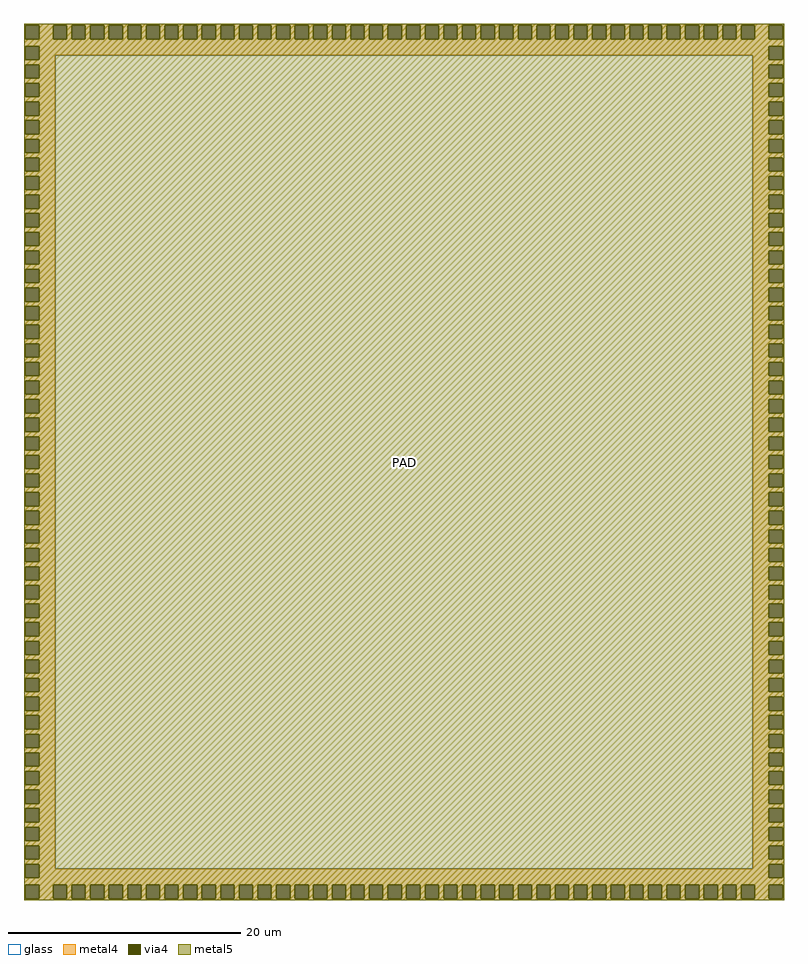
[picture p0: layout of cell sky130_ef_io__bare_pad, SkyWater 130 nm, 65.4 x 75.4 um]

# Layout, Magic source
magic
tech sky130A
<< metal4 >>
rect -270 7258 6270 7270
rect -270 7140 -258 7258
rect -140 7140 -19 7258
rect 99 7140 141 7258
rect 259 7140 301 7258
rect 419 7140 461 7258
rect 579 7140 621 7258
rect 739 7140 781 7258
rect 899 7140 941 7258
rect 1059 7140 1101 7258
rect 1219 7140 1261 7258
rect 1379 7140 1421 7258
rect 1539 7140 1581 7258
rect 1699 7140 1741 7258
rect 1859 7140 1901 7258
rect 2019 7140 2061 7258
rect 2179 7140 2221 7258
rect 2339 7140 2381 7258
rect 2499 7140 2541 7258
rect 2659 7140 2701 7258
rect 2819 7140 2861 7258
rect 2979 7140 3021 7258
rect 3139 7140 3181 7258
rect 3299 7140 3341 7258
rect 3459 7140 3501 7258
rect 3619 7140 3661 7258
rect 3779 7140 3821 7258
rect 3939 7140 3981 7258
rect 4099 7140 4141 7258
rect 4259 7140 4301 7258
rect 4419 7140 4461 7258
rect 4579 7140 4621 7258
rect 4739 7140 4781 7258
rect 4899 7140 4941 7258
rect 5059 7140 5101 7258
rect 5219 7140 5261 7258
rect 5379 7140 5421 7258
rect 5539 7140 5581 7258
rect 5699 7140 5741 7258
rect 5859 7140 5901 7258
rect 6019 7140 6140 7258
rect 6258 7140 6270 7258
rect -270 7079 6270 7140
rect -270 6961 -258 7079
rect -140 7000 6140 7079
rect -140 6961 0 7000
rect -270 6919 0 6961
rect -270 6801 -258 6919
rect -140 6801 0 6919
rect -270 6759 0 6801
rect -270 6641 -258 6759
rect -140 6641 0 6759
rect -270 6599 0 6641
rect -270 6481 -258 6599
rect -140 6481 0 6599
rect -270 6439 0 6481
rect -270 6321 -258 6439
rect -140 6321 0 6439
rect -270 6279 0 6321
rect -270 6161 -258 6279
rect -140 6161 0 6279
rect -270 6119 0 6161
rect -270 6001 -258 6119
rect -140 6001 0 6119
rect -270 5959 0 6001
rect -270 5841 -258 5959
rect -140 5841 0 5959
rect -270 5799 0 5841
rect -270 5681 -258 5799
rect -140 5681 0 5799
rect -270 5639 0 5681
rect -270 5521 -258 5639
rect -140 5521 0 5639
rect -270 5479 0 5521
rect -270 5361 -258 5479
rect -140 5361 0 5479
rect -270 5319 0 5361
rect -270 5201 -258 5319
rect -140 5201 0 5319
rect -270 5159 0 5201
rect -270 5041 -258 5159
rect -140 5041 0 5159
rect -270 4999 0 5041
rect -270 4881 -258 4999
rect -140 4881 0 4999
rect -270 4839 0 4881
rect -270 4721 -258 4839
rect -140 4721 0 4839
rect -270 4679 0 4721
rect -270 4561 -258 4679
rect -140 4561 0 4679
rect -270 4519 0 4561
rect -270 4401 -258 4519
rect -140 4401 0 4519
rect -270 4359 0 4401
rect -270 4241 -258 4359
rect -140 4241 0 4359
rect -270 4199 0 4241
rect -270 4081 -258 4199
rect -140 4081 0 4199
rect -270 4039 0 4081
rect -270 3921 -258 4039
rect -140 3921 0 4039
rect -270 3879 0 3921
rect -270 3761 -258 3879
rect -140 3761 0 3879
rect -270 3719 0 3761
rect -270 3601 -258 3719
rect -140 3601 0 3719
rect -270 3559 0 3601
rect -270 3441 -258 3559
rect -140 3441 0 3559
rect -270 3399 0 3441
rect -270 3281 -258 3399
rect -140 3281 0 3399
rect -270 3239 0 3281
rect -270 3121 -258 3239
rect -140 3121 0 3239
rect -270 3079 0 3121
rect -270 2961 -258 3079
rect -140 2961 0 3079
rect -270 2919 0 2961
rect -270 2801 -258 2919
rect -140 2801 0 2919
rect -270 2759 0 2801
rect -270 2641 -258 2759
rect -140 2641 0 2759
rect -270 2599 0 2641
rect -270 2481 -258 2599
rect -140 2481 0 2599
rect -270 2439 0 2481
rect -270 2321 -258 2439
rect -140 2321 0 2439
rect -270 2279 0 2321
rect -270 2161 -258 2279
rect -140 2161 0 2279
rect -270 2119 0 2161
rect -270 2001 -258 2119
rect -140 2001 0 2119
rect -270 1959 0 2001
rect -270 1841 -258 1959
rect -140 1841 0 1959
rect -270 1799 0 1841
rect -270 1681 -258 1799
rect -140 1681 0 1799
rect -270 1639 0 1681
rect -270 1521 -258 1639
rect -140 1521 0 1639
rect -270 1479 0 1521
rect -270 1361 -258 1479
rect -140 1361 0 1479
rect -270 1319 0 1361
rect -270 1201 -258 1319
rect -140 1201 0 1319
rect -270 1159 0 1201
rect -270 1041 -258 1159
rect -140 1041 0 1159
rect -270 999 0 1041
rect -270 881 -258 999
rect -140 881 0 999
rect -270 839 0 881
rect -270 721 -258 839
rect -140 721 0 839
rect -270 679 0 721
rect -270 561 -258 679
rect -140 561 0 679
rect -270 519 0 561
rect -270 401 -258 519
rect -140 401 0 519
rect -270 359 0 401
rect -270 241 -258 359
rect -140 241 0 359
rect -270 199 0 241
rect -270 81 -258 199
rect -140 81 0 199
rect -270 39 0 81
rect -270 -79 -258 39
rect -140 0 0 39
rect 6000 6961 6140 7000
rect 6258 6961 6270 7079
rect 6000 6919 6270 6961
rect 6000 6801 6140 6919
rect 6258 6801 6270 6919
rect 6000 6759 6270 6801
rect 6000 6641 6140 6759
rect 6258 6641 6270 6759
rect 6000 6599 6270 6641
rect 6000 6481 6140 6599
rect 6258 6481 6270 6599
rect 6000 6439 6270 6481
rect 6000 6321 6140 6439
rect 6258 6321 6270 6439
rect 6000 6279 6270 6321
rect 6000 6161 6140 6279
rect 6258 6161 6270 6279
rect 6000 6119 6270 6161
rect 6000 6001 6140 6119
rect 6258 6001 6270 6119
rect 6000 5959 6270 6001
rect 6000 5841 6140 5959
rect 6258 5841 6270 5959
rect 6000 5799 6270 5841
rect 6000 5681 6140 5799
rect 6258 5681 6270 5799
rect 6000 5639 6270 5681
rect 6000 5521 6140 5639
rect 6258 5521 6270 5639
rect 6000 5479 6270 5521
rect 6000 5361 6140 5479
rect 6258 5361 6270 5479
rect 6000 5319 6270 5361
rect 6000 5201 6140 5319
rect 6258 5201 6270 5319
rect 6000 5159 6270 5201
rect 6000 5041 6140 5159
rect 6258 5041 6270 5159
rect 6000 4999 6270 5041
rect 6000 4881 6140 4999
rect 6258 4881 6270 4999
rect 6000 4839 6270 4881
rect 6000 4721 6140 4839
rect 6258 4721 6270 4839
rect 6000 4679 6270 4721
rect 6000 4561 6140 4679
rect 6258 4561 6270 4679
rect 6000 4519 6270 4561
rect 6000 4401 6140 4519
rect 6258 4401 6270 4519
rect 6000 4359 6270 4401
rect 6000 4241 6140 4359
rect 6258 4241 6270 4359
rect 6000 4199 6270 4241
rect 6000 4081 6140 4199
rect 6258 4081 6270 4199
rect 6000 4039 6270 4081
rect 6000 3921 6140 4039
rect 6258 3921 6270 4039
rect 6000 3879 6270 3921
rect 6000 3761 6140 3879
rect 6258 3761 6270 3879
rect 6000 3719 6270 3761
rect 6000 3601 6140 3719
rect 6258 3601 6270 3719
rect 6000 3559 6270 3601
rect 6000 3441 6140 3559
rect 6258 3441 6270 3559
rect 6000 3399 6270 3441
rect 6000 3281 6140 3399
rect 6258 3281 6270 3399
rect 6000 3239 6270 3281
rect 6000 3121 6140 3239
rect 6258 3121 6270 3239
rect 6000 3079 6270 3121
rect 6000 2961 6140 3079
rect 6258 2961 6270 3079
rect 6000 2919 6270 2961
rect 6000 2801 6140 2919
rect 6258 2801 6270 2919
rect 6000 2759 6270 2801
rect 6000 2641 6140 2759
rect 6258 2641 6270 2759
rect 6000 2599 6270 2641
rect 6000 2481 6140 2599
rect 6258 2481 6270 2599
rect 6000 2439 6270 2481
rect 6000 2321 6140 2439
rect 6258 2321 6270 2439
rect 6000 2279 6270 2321
rect 6000 2161 6140 2279
rect 6258 2161 6270 2279
rect 6000 2119 6270 2161
rect 6000 2001 6140 2119
rect 6258 2001 6270 2119
rect 6000 1959 6270 2001
rect 6000 1841 6140 1959
rect 6258 1841 6270 1959
rect 6000 1799 6270 1841
rect 6000 1681 6140 1799
rect 6258 1681 6270 1799
rect 6000 1639 6270 1681
rect 6000 1521 6140 1639
rect 6258 1521 6270 1639
rect 6000 1479 6270 1521
rect 6000 1361 6140 1479
rect 6258 1361 6270 1479
rect 6000 1319 6270 1361
rect 6000 1201 6140 1319
rect 6258 1201 6270 1319
rect 6000 1159 6270 1201
rect 6000 1041 6140 1159
rect 6258 1041 6270 1159
rect 6000 999 6270 1041
rect 6000 881 6140 999
rect 6258 881 6270 999
rect 6000 839 6270 881
rect 6000 721 6140 839
rect 6258 721 6270 839
rect 6000 679 6270 721
rect 6000 561 6140 679
rect 6258 561 6270 679
rect 6000 519 6270 561
rect 6000 401 6140 519
rect 6258 401 6270 519
rect 6000 359 6270 401
rect 6000 241 6140 359
rect 6258 241 6270 359
rect 6000 199 6270 241
rect 6000 81 6140 199
rect 6258 81 6270 199
rect 6000 39 6270 81
rect 6000 0 6140 39
rect -140 -79 6140 0
rect 6258 -79 6270 39
rect -270 -140 6270 -79
rect -270 -258 -258 -140
rect -140 -258 -19 -140
rect 99 -258 141 -140
rect 259 -258 301 -140
rect 419 -258 461 -140
rect 579 -258 621 -140
rect 739 -258 781 -140
rect 899 -258 941 -140
rect 1059 -258 1101 -140
rect 1219 -258 1261 -140
rect 1379 -258 1421 -140
rect 1539 -258 1581 -140
rect 1699 -258 1741 -140
rect 1859 -258 1901 -140
rect 2019 -258 2061 -140
rect 2179 -258 2221 -140
rect 2339 -258 2381 -140
rect 2499 -258 2541 -140
rect 2659 -258 2701 -140
rect 2819 -258 2861 -140
rect 2979 -258 3021 -140
rect 3139 -258 3181 -140
rect 3299 -258 3341 -140
rect 3459 -258 3501 -140
rect 3619 -258 3661 -140
rect 3779 -258 3821 -140
rect 3939 -258 3981 -140
rect 4099 -258 4141 -140
rect 4259 -258 4301 -140
rect 4419 -258 4461 -140
rect 4579 -258 4621 -140
rect 4739 -258 4781 -140
rect 4899 -258 4941 -140
rect 5059 -258 5101 -140
rect 5219 -258 5261 -140
rect 5379 -258 5421 -140
rect 5539 -258 5581 -140
rect 5699 -258 5741 -140
rect 5859 -258 5901 -140
rect 6019 -258 6140 -140
rect 6258 -258 6270 -140
rect -270 -270 6270 -258
<< via4 >>
rect -258 7140 -140 7258
rect -19 7140 99 7258
rect 141 7140 259 7258
rect 301 7140 419 7258
rect 461 7140 579 7258
rect 621 7140 739 7258
rect 781 7140 899 7258
rect 941 7140 1059 7258
rect 1101 7140 1219 7258
rect 1261 7140 1379 7258
rect 1421 7140 1539 7258
rect 1581 7140 1699 7258
rect 1741 7140 1859 7258
rect 1901 7140 2019 7258
rect 2061 7140 2179 7258
rect 2221 7140 2339 7258
rect 2381 7140 2499 7258
rect 2541 7140 2659 7258
rect 2701 7140 2819 7258
rect 2861 7140 2979 7258
rect 3021 7140 3139 7258
rect 3181 7140 3299 7258
rect 3341 7140 3459 7258
rect 3501 7140 3619 7258
rect 3661 7140 3779 7258
rect 3821 7140 3939 7258
rect 3981 7140 4099 7258
rect 4141 7140 4259 7258
rect 4301 7140 4419 7258
rect 4461 7140 4579 7258
rect 4621 7140 4739 7258
rect 4781 7140 4899 7258
rect 4941 7140 5059 7258
rect 5101 7140 5219 7258
rect 5261 7140 5379 7258
rect 5421 7140 5539 7258
rect 5581 7140 5699 7258
rect 5741 7140 5859 7258
rect 5901 7140 6019 7258
rect 6140 7140 6258 7258
rect -258 6961 -140 7079
rect -258 6801 -140 6919
rect -258 6641 -140 6759
rect -258 6481 -140 6599
rect -258 6321 -140 6439
rect -258 6161 -140 6279
rect -258 6001 -140 6119
rect -258 5841 -140 5959
rect -258 5681 -140 5799
rect -258 5521 -140 5639
rect -258 5361 -140 5479
rect -258 5201 -140 5319
rect -258 5041 -140 5159
rect -258 4881 -140 4999
rect -258 4721 -140 4839
rect -258 4561 -140 4679
rect -258 4401 -140 4519
rect -258 4241 -140 4359
rect -258 4081 -140 4199
rect -258 3921 -140 4039
rect -258 3761 -140 3879
rect -258 3601 -140 3719
rect -258 3441 -140 3559
rect -258 3281 -140 3399
rect -258 3121 -140 3239
rect -258 2961 -140 3079
rect -258 2801 -140 2919
rect -258 2641 -140 2759
rect -258 2481 -140 2599
rect -258 2321 -140 2439
rect -258 2161 -140 2279
rect -258 2001 -140 2119
rect -258 1841 -140 1959
rect -258 1681 -140 1799
rect -258 1521 -140 1639
rect -258 1361 -140 1479
rect -258 1201 -140 1319
rect -258 1041 -140 1159
rect -258 881 -140 999
rect -258 721 -140 839
rect -258 561 -140 679
rect -258 401 -140 519
rect -258 241 -140 359
rect -258 81 -140 199
rect -258 -79 -140 39
rect 6140 6961 6258 7079
rect 6140 6801 6258 6919
rect 6140 6641 6258 6759
rect 6140 6481 6258 6599
rect 6140 6321 6258 6439
rect 6140 6161 6258 6279
rect 6140 6001 6258 6119
rect 6140 5841 6258 5959
rect 6140 5681 6258 5799
rect 6140 5521 6258 5639
rect 6140 5361 6258 5479
rect 6140 5201 6258 5319
rect 6140 5041 6258 5159
rect 6140 4881 6258 4999
rect 6140 4721 6258 4839
rect 6140 4561 6258 4679
rect 6140 4401 6258 4519
rect 6140 4241 6258 4359
rect 6140 4081 6258 4199
rect 6140 3921 6258 4039
rect 6140 3761 6258 3879
rect 6140 3601 6258 3719
rect 6140 3441 6258 3559
rect 6140 3281 6258 3399
rect 6140 3121 6258 3239
rect 6140 2961 6258 3079
rect 6140 2801 6258 2919
rect 6140 2641 6258 2759
rect 6140 2481 6258 2599
rect 6140 2321 6258 2439
rect 6140 2161 6258 2279
rect 6140 2001 6258 2119
rect 6140 1841 6258 1959
rect 6140 1681 6258 1799
rect 6140 1521 6258 1639
rect 6140 1361 6258 1479
rect 6140 1201 6258 1319
rect 6140 1041 6258 1159
rect 6140 881 6258 999
rect 6140 721 6258 839
rect 6140 561 6258 679
rect 6140 401 6258 519
rect 6140 241 6258 359
rect 6140 81 6258 199
rect 6140 -79 6258 39
rect -258 -258 -140 -140
rect -19 -258 99 -140
rect 141 -258 259 -140
rect 301 -258 419 -140
rect 461 -258 579 -140
rect 621 -258 739 -140
rect 781 -258 899 -140
rect 941 -258 1059 -140
rect 1101 -258 1219 -140
rect 1261 -258 1379 -140
rect 1421 -258 1539 -140
rect 1581 -258 1699 -140
rect 1741 -258 1859 -140
rect 1901 -258 2019 -140
rect 2061 -258 2179 -140
rect 2221 -258 2339 -140
rect 2381 -258 2499 -140
rect 2541 -258 2659 -140
rect 2701 -258 2819 -140
rect 2861 -258 2979 -140
rect 3021 -258 3139 -140
rect 3181 -258 3299 -140
rect 3341 -258 3459 -140
rect 3501 -258 3619 -140
rect 3661 -258 3779 -140
rect 3821 -258 3939 -140
rect 3981 -258 4099 -140
rect 4141 -258 4259 -140
rect 4301 -258 4419 -140
rect 4461 -258 4579 -140
rect 4621 -258 4739 -140
rect 4781 -258 4899 -140
rect 4941 -258 5059 -140
rect 5101 -258 5219 -140
rect 5261 -258 5379 -140
rect 5421 -258 5539 -140
rect 5581 -258 5699 -140
rect 5741 -258 5859 -140
rect 5901 -258 6019 -140
rect 6140 -258 6258 -140
<< metal5 >>
rect -270 7258 6270 7270
rect -270 7140 -258 7258
rect -140 7140 -19 7258
rect 99 7140 141 7258
rect 259 7140 301 7258
rect 419 7140 461 7258
rect 579 7140 621 7258
rect 739 7140 781 7258
rect 899 7140 941 7258
rect 1059 7140 1101 7258
rect 1219 7140 1261 7258
rect 1379 7140 1421 7258
rect 1539 7140 1581 7258
rect 1699 7140 1741 7258
rect 1859 7140 1901 7258
rect 2019 7140 2061 7258
rect 2179 7140 2221 7258
rect 2339 7140 2381 7258
rect 2499 7140 2541 7258
rect 2659 7140 2701 7258
rect 2819 7140 2861 7258
rect 2979 7140 3021 7258
rect 3139 7140 3181 7258
rect 3299 7140 3341 7258
rect 3459 7140 3501 7258
rect 3619 7140 3661 7258
rect 3779 7140 3821 7258
rect 3939 7140 3981 7258
rect 4099 7140 4141 7258
rect 4259 7140 4301 7258
rect 4419 7140 4461 7258
rect 4579 7140 4621 7258
rect 4739 7140 4781 7258
rect 4899 7140 4941 7258
rect 5059 7140 5101 7258
rect 5219 7140 5261 7258
rect 5379 7140 5421 7258
rect 5539 7140 5581 7258
rect 5699 7140 5741 7258
rect 5859 7140 5901 7258
rect 6019 7140 6140 7258
rect 6258 7140 6270 7258
rect -270 7079 6270 7140
rect -270 6961 -258 7079
rect -140 6961 6140 7079
rect 6258 6961 6270 7079
rect -270 6919 6270 6961
rect -270 6801 -258 6919
rect -140 6801 6140 6919
rect 6258 6801 6270 6919
rect -270 6759 6270 6801
rect -270 6641 -258 6759
rect -140 6641 6140 6759
rect 6258 6641 6270 6759
rect -270 6599 6270 6641
rect -270 6481 -258 6599
rect -140 6481 6140 6599
rect 6258 6481 6270 6599
rect -270 6439 6270 6481
rect -270 6321 -258 6439
rect -140 6321 6140 6439
rect 6258 6321 6270 6439
rect -270 6279 6270 6321
rect -270 6161 -258 6279
rect -140 6161 6140 6279
rect 6258 6161 6270 6279
rect -270 6119 6270 6161
rect -270 6001 -258 6119
rect -140 6001 6140 6119
rect 6258 6001 6270 6119
rect -270 5959 6270 6001
rect -270 5841 -258 5959
rect -140 5841 6140 5959
rect 6258 5841 6270 5959
rect -270 5799 6270 5841
rect -270 5681 -258 5799
rect -140 5681 6140 5799
rect 6258 5681 6270 5799
rect -270 5639 6270 5681
rect -270 5521 -258 5639
rect -140 5521 6140 5639
rect 6258 5521 6270 5639
rect -270 5479 6270 5521
rect -270 5361 -258 5479
rect -140 5361 6140 5479
rect 6258 5361 6270 5479
rect -270 5319 6270 5361
rect -270 5201 -258 5319
rect -140 5201 6140 5319
rect 6258 5201 6270 5319
rect -270 5159 6270 5201
rect -270 5041 -258 5159
rect -140 5041 6140 5159
rect 6258 5041 6270 5159
rect -270 4999 6270 5041
rect -270 4881 -258 4999
rect -140 4881 6140 4999
rect 6258 4881 6270 4999
rect -270 4839 6270 4881
rect -270 4721 -258 4839
rect -140 4721 6140 4839
rect 6258 4721 6270 4839
rect -270 4679 6270 4721
rect -270 4561 -258 4679
rect -140 4561 6140 4679
rect 6258 4561 6270 4679
rect -270 4519 6270 4561
rect -270 4401 -258 4519
rect -140 4401 6140 4519
rect 6258 4401 6270 4519
rect -270 4359 6270 4401
rect -270 4241 -258 4359
rect -140 4241 6140 4359
rect 6258 4241 6270 4359
rect -270 4199 6270 4241
rect -270 4081 -258 4199
rect -140 4081 6140 4199
rect 6258 4081 6270 4199
rect -270 4039 6270 4081
rect -270 3921 -258 4039
rect -140 3921 6140 4039
rect 6258 3921 6270 4039
rect -270 3879 6270 3921
rect -270 3761 -258 3879
rect -140 3761 6140 3879
rect 6258 3761 6270 3879
rect -270 3719 6270 3761
rect -270 3601 -258 3719
rect -140 3601 6140 3719
rect 6258 3601 6270 3719
rect -270 3559 6270 3601
rect -270 3441 -258 3559
rect -140 3441 6140 3559
rect 6258 3441 6270 3559
rect -270 3399 6270 3441
rect -270 3281 -258 3399
rect -140 3281 6140 3399
rect 6258 3281 6270 3399
rect -270 3239 6270 3281
rect -270 3121 -258 3239
rect -140 3121 6140 3239
rect 6258 3121 6270 3239
rect -270 3079 6270 3121
rect -270 2961 -258 3079
rect -140 2961 6140 3079
rect 6258 2961 6270 3079
rect -270 2919 6270 2961
rect -270 2801 -258 2919
rect -140 2801 6140 2919
rect 6258 2801 6270 2919
rect -270 2759 6270 2801
rect -270 2641 -258 2759
rect -140 2641 6140 2759
rect 6258 2641 6270 2759
rect -270 2599 6270 2641
rect -270 2481 -258 2599
rect -140 2481 6140 2599
rect 6258 2481 6270 2599
rect -270 2439 6270 2481
rect -270 2321 -258 2439
rect -140 2321 6140 2439
rect 6258 2321 6270 2439
rect -270 2279 6270 2321
rect -270 2161 -258 2279
rect -140 2161 6140 2279
rect 6258 2161 6270 2279
rect -270 2119 6270 2161
rect -270 2001 -258 2119
rect -140 2001 6140 2119
rect 6258 2001 6270 2119
rect -270 1959 6270 2001
rect -270 1841 -258 1959
rect -140 1841 6140 1959
rect 6258 1841 6270 1959
rect -270 1799 6270 1841
rect -270 1681 -258 1799
rect -140 1681 6140 1799
rect 6258 1681 6270 1799
rect -270 1639 6270 1681
rect -270 1521 -258 1639
rect -140 1521 6140 1639
rect 6258 1521 6270 1639
rect -270 1479 6270 1521
rect -270 1361 -258 1479
rect -140 1361 6140 1479
rect 6258 1361 6270 1479
rect -270 1319 6270 1361
rect -270 1201 -258 1319
rect -140 1201 6140 1319
rect 6258 1201 6270 1319
rect -270 1159 6270 1201
rect -270 1041 -258 1159
rect -140 1041 6140 1159
rect 6258 1041 6270 1159
rect -270 999 6270 1041
rect -270 881 -258 999
rect -140 881 6140 999
rect 6258 881 6270 999
rect -270 839 6270 881
rect -270 721 -258 839
rect -140 721 6140 839
rect 6258 721 6270 839
rect -270 679 6270 721
rect -270 561 -258 679
rect -140 561 6140 679
rect 6258 561 6270 679
rect -270 519 6270 561
rect -270 401 -258 519
rect -140 401 6140 519
rect 6258 401 6270 519
rect -270 359 6270 401
rect -270 241 -258 359
rect -140 241 6140 359
rect 6258 241 6270 359
rect -270 199 6270 241
rect -270 81 -258 199
rect -140 81 6140 199
rect 6258 81 6270 199
rect -270 39 6270 81
rect -270 -79 -258 39
rect -140 -79 6140 39
rect 6258 -79 6270 39
rect -270 -140 6270 -79
rect -270 -258 -258 -140
rect -140 -258 -19 -140
rect 99 -258 141 -140
rect 259 -258 301 -140
rect 419 -258 461 -140
rect 579 -258 621 -140
rect 739 -258 781 -140
rect 899 -258 941 -140
rect 1059 -258 1101 -140
rect 1219 -258 1261 -140
rect 1379 -258 1421 -140
rect 1539 -258 1581 -140
rect 1699 -258 1741 -140
rect 1859 -258 1901 -140
rect 2019 -258 2061 -140
rect 2179 -258 2221 -140
rect 2339 -258 2381 -140
rect 2499 -258 2541 -140
rect 2659 -258 2701 -140
rect 2819 -258 2861 -140
rect 2979 -258 3021 -140
rect 3139 -258 3181 -140
rect 3299 -258 3341 -140
rect 3459 -258 3501 -140
rect 3619 -258 3661 -140
rect 3779 -258 3821 -140
rect 3939 -258 3981 -140
rect 4099 -258 4141 -140
rect 4259 -258 4301 -140
rect 4419 -258 4461 -140
rect 4579 -258 4621 -140
rect 4739 -258 4781 -140
rect 4899 -258 4941 -140
rect 5059 -258 5101 -140
rect 5219 -258 5261 -140
rect 5379 -258 5421 -140
rect 5539 -258 5581 -140
rect 5699 -258 5741 -140
rect 5859 -258 5901 -140
rect 6019 -258 6140 -140
rect 6258 -258 6270 -140
rect -270 -270 6270 -258
<< glass >>
rect 0 0 6000 7000
<< labels >>
flabel metal5 s -140 -140 6140 7140 0 FreeSans 1000 0 0 0 PAD
port 1 nsew
<< properties >>
string LEFclass BLOCK
string FIXED_BBOX -270 -270 6270 7270
string GDS_FILE $PDKPATH/libs.ref/sky130_fd_io/gds/sky130_ef_io__bare_pad.gds
string GDS_END 11530
string GDS_START 134
<< end >>
